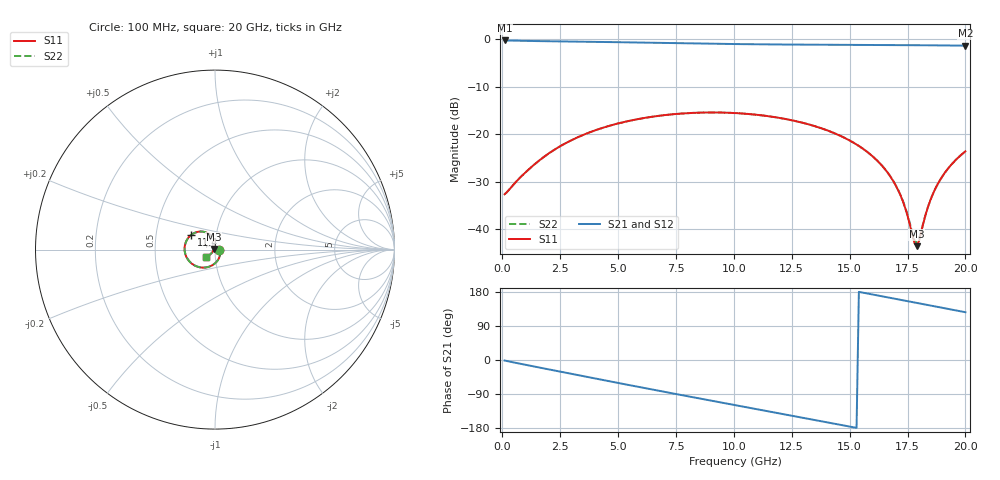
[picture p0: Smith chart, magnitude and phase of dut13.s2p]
! Touchstone file exported from HFSS 2026.1.0
!  File:  C:/ffzhzh/LocalFiles/Ansys_Project_Files/temp_val_TSV_RDL_13_1782976811_15332.aedt
!  Generated:  03:26:12 PM Jul  2, 2026
!  Design:  TSV_RDL
!  Project:  temp_val_TSV_RDL_13_1782976811_15332
! Variables:
!  h_bsmrdl = 2.75um
!  h_ox = 20um
!  h_rdl = 5um
!  h_sub = 74.84um
!  h_tmrdl = 4.02um
!  h_tsv = 74.84um
!  h_via = 3um
!  l_bsmrdl = 604.73um
!  l_sub = 3430.6um
!  l_tmrdl = 281.97um
!  m_sub = 200um
!  pitch = 19.29um
!  r_tsv = 8.98um
!  s_tmrdl = 10um
!  w_bsmrdl = 15.97um
!  w_sub = 500um
!  w_tmrdl = 13.54um
!  x_tsv_center1 = 288.74um
!  x_tsv_center2 = 909.44um
!  x_tsv_center3 = 1204.95um
!  x_tsv_center4 = 1825.65um
!  x_tsv_center5 = 2121.16um
!  x_tsv_center6 = 2741.86um
# GHz S MA R 50.000000
! Terminal data exported
! Port[1] = TM_RDL1_1_T1
! Port[2] = TM_RDL5_1_T1
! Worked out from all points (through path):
!   200 points, 100 MHz to 20 GHz, reference 50 ohm
!   highest |S21| = -0.20 dB at 100 MHz (marker M1); lowest = -1.3 dB at 20 GHz (marker M2)
!   group delay of S21, straight-line fit = 32.2 ps
!   lowest |S11| = -43.6 dB at 17.9 GHz (marker M3), VSWR 1.01, Z = 49.4 + j0.184 ohm
!   |S11| at or under -10 dB: start of sweep to end of sweep
!   |S22| runs from -43.0 to -15.4 dB; largest |S21 - S12| = 8.1e-14
!   S11 on the Smith chart (normalised r, x): 100 MHz: 1.05, -0.00; 11.4 GHz: 0.76, +0.13; 20 GHz: 0.90, -0.08
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0.1  0.02325 -1.9  0.9768 -1.4  0.9768 -1.4  0.02325 -1.9
! Gamma 0 0 0 0
! Port Impedance 50 0 50 0
1.7  0.05528 -68.6  0.9607 -21.1  0.9607 -21.1  0.05526 -68.7
3.5  0.09848 -107.4  0.9485 -42.7  0.9485 -42.7  0.09844 -107.5
5.2  0.1335 -133.5  0.9345 -62.9  0.9345 -62.9  0.1335 -133.6
6.8  0.1569 -155.1  0.9201 -81.7  0.9201 -81.7  0.1568 -155.2
8.4  0.1685 -175.4  0.9065 -100.2  0.9065 -100.2  0.1685 -175.5
10.1  0.167 164.0  0.8946 -119.6  0.8946 -119.6  0.1669 163.9
11.4  0.156 148.7  0.8878 -134.4  0.8878 -134.4  0.156 148.6
13.4  0.1236 125.7  0.881 -157.2  0.881 -157.2  0.1237 125.6
15.4  0.07511 104.1  0.8767 179.8  0.8767 179.8  0.07525 104.1
16.1  0.05527 97.6  0.8752 171.6  0.8752 171.6  0.05544 97.8
16.7  0.03751 93.8  0.8738 164.7  0.8738 164.7  0.03773 94.1
17  0.02849 93.5  0.873 161.2  0.873 161.2  0.02874 94.0
17.3  0.01954 96.2  0.8722 157.7  0.8722 157.7  0.01985 97.1
17.5  0.0138 102.6  0.8716 155.3  0.8716 155.3  0.01417 103.7
17.8  0.007094 138.4  0.8706 151.8  0.8706 151.8  0.0076 138.2
17.9  0.006578 163.6  0.8703 150.7  0.8703 150.7  0.007046 161.6
18  0.007496 -172.7  0.8699 149.5  0.8699 149.5  0.007841 -175.9
18.4  0.01755 -138.3  0.8684 144.8  0.8684 144.8  0.01757 -140.3
18.7  0.02656 -134.2  0.8672 141.3  0.8672 141.3  0.02651 -135.6
19.3  0.04494 -135.4  0.8645 134.3  0.8645 134.3  0.04482 -136.3
20  0.06598 -140.9  0.8609 126.1  0.8609 126.1  0.06583 -141.6
